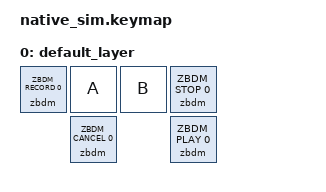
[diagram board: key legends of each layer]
/*
 * Copyright (c) 2026 The ZMK Behavior Dynamic Macro Contributors
 *
 * SPDX-License-Identifier: MIT
 */

#include <dt-bindings/zmk/keys.h>
#include <behaviors.dtsi>
#include <behaviors/zbdm.dtsi>
#include <dt-bindings/zmk/kscan_mock.h>
#include <dt-bindings/zmk/zbdm.h>

/ {
    keymap {
        compatible = "zmk,keymap";

        default_layer {
            bindings = <&zbdm ZBDM_RECORD 0 &kp A &kp B &zbdm ZBDM_STOP 0
                        &zbdm ZBDM_CANCEL 0 &zbdm ZBDM_PLAY 0>;
        };
    };
};

&kscan {
    rows = <1>;
    columns = <6>;
    events = <
        ZMK_MOCK_PRESS(0,0,10) ZMK_MOCK_RELEASE(0,0,20)
        ZMK_MOCK_PRESS(0,1,30) ZMK_MOCK_RELEASE(0,1,40)
        ZMK_MOCK_PRESS(0,3,50) ZMK_MOCK_RELEASE(0,3,60)
        ZMK_MOCK_PRESS(0,0,70) ZMK_MOCK_RELEASE(0,0,80)
        ZMK_MOCK_PRESS(0,2,90) ZMK_MOCK_RELEASE(0,2,100)
        ZMK_MOCK_PRESS(0,4,110) ZMK_MOCK_RELEASE(0,4,120)
        ZMK_MOCK_PRESS(0,5,130) ZMK_MOCK_RELEASE(0,5,140)
    >;
};
